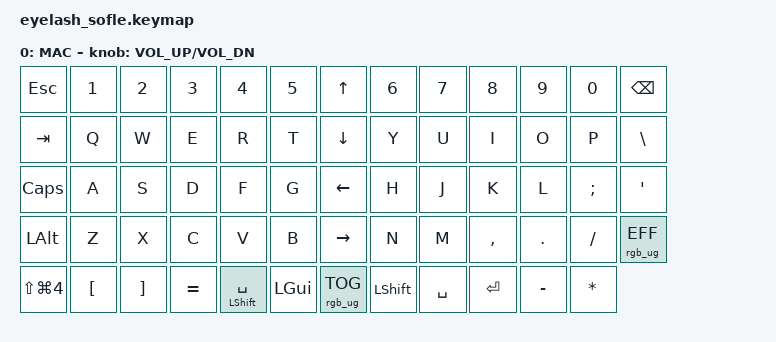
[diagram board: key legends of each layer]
#define ZMK_POINTING_DEFAULT_MOVE_VAL 1200  // 600
#define ZMK_POINTING_DEFAULT_SCRL_VAL 25   // 10

#include <input/processors.dtsi>
#include <zephyr/dt-bindings/input/input-event-codes.h>
#include <behaviors.dtsi>
#include <dt-bindings/zmk/keys.h>
#include <dt-bindings/zmk/pointing.h>
#include <dt-bindings/zmk/rgb.h>

&mmv_input_listener { input-processors = <&zip_xy_scaler 2 1>; };

&msc_input_listener { input-processors = <&zip_scroll_scaler 2 1>; };

&msc {
    acceleration-exponent = <1>;      // 0
    time-to-max-speed-ms = <100>;       // 300
    delay-ms = <0>;                   // 0
};

&mmv {
    time-to-max-speed-ms = <500>;
    acceleration-exponent = <1>;
    trigger-period-ms = <16>;
};

/ {
    scroll_encoder: scroll_encoder {
        compatible = "zmk,behavior-sensor-rotate";
        #sensor-binding-cells = <0>;
        bindings = <&msc SCRL_DOWN>, <&msc SCRL_UP>;

        tap-ms = <100>;
    };

    Long: Long {
        compatible = "zmk,behavior-hold-tap";
        bindings = <&kp>, <&kp>;

        #binding-cells = <2>;
        tapping-term-ms = <800>;
        quick-tap-ms = <200>;
        require-prior-idle-ms = <150>;
        flavor = "balanced";
    };

    behaviors {
    };

    keymap {
        compatible = "zmk,keymap";

        MAC {
            bindings = <
&kp ESC         &kp N1            &kp N2             &kp N3     &kp N4                  &kp N5          &kp UP_ARROW     &kp N6          &kp N7     &kp N8     &kp N9     &kp N0     &kp BACKSPACE
&kp TAB         &kp Q             &kp W              &kp E      &kp R                   &kp T           &kp DOWN_ARROW   &kp Y           &kp U      &kp I      &kp O      &kp P      &kp BSLH
&kp CAPS        &kp A             &kp S              &kp D      &kp F                   &kp G           &kp LEFT_ARROW   &kp H           &kp J      &kp K      &kp L      &kp SEMI   &kp APOS
&kp LEFT_ALT    &kp Z             &kp X              &kp C      &kp V                   &kp B           &kp RIGHT_ARROW  &kp N           &kp M      &kp COMMA  &kp DOT    &kp FSLH   &rgb_ug RGB_EFF
&kp LS(LG(N4))  &kp LEFT_BRACKET  &kp RIGHT_BRACKET  &kp EQUAL  &Long LEFT_SHIFT SPACE  &kp LEFT_GUI    &rgb_ug RGB_TOG  &kp LEFT_SHIFT  &kp SPACE  &kp ENTER  &kp MINUS  &kp ASTRK
            >;

            sensor-bindings = <&inc_dec_kp C_VOLUME_UP C_VOL_DN>;
            display-name = "MAC";
        };
    };
};
